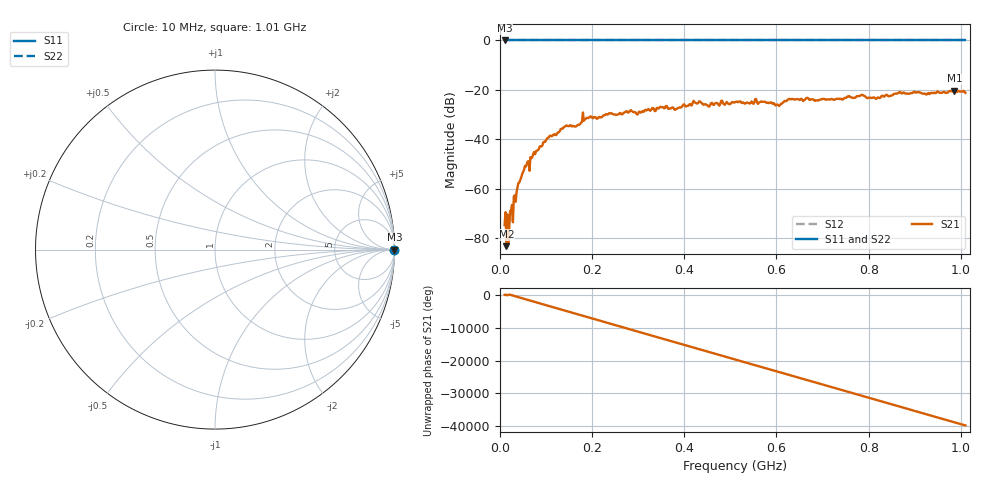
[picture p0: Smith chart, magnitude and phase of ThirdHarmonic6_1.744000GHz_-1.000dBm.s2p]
! 8/16/2025 9:01:54 PM
! C:\ANRITSUVNA\TEMP\TEMP.S2P
! CHANNEL.1
! TR.MEASUREMENT
! RAW.DATA
! RF.CORRECTION.OFF
! AVERAGING.OFF
! IF.BANDWIDTH: 5KHZ
! SWEEPTYPE:  FREQ.SWEEP(Linear)
! Reference Plane Port Info
! PORT:  PORT1  PORT2
! DISTANCE:  0  m  0  m
! TIME:  0  s  0  s
! PHASE.OFFSET:  0  deg.  0  deg.
! LOSS:  0  dB  0  dB
! REF.LOSS:  0  dB  0  dB
! REF.FREQ:  0  Hz  0  Hz
! Power Info
! POWER:  -20  dBm  -20  dBm
! EFF.POWER:  -20  dBm  -20  dBm
! SOURCE.ATTEN:  0  dB  0  dB
! TEST.ATTEN:  0  dB  0  dB
# GHZ S RI R 50.0
! FREQ.GHZ  S11RE  S11IM  S21RE  S21IM  S12RE  S12IM  S22RE  S22IM
!; PortSelection: Port_12
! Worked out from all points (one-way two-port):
!   501 points, 10 MHz to 1.01 GHz, reference 50 ohm
!   highest |S21| = -20.31 dB at 986 MHz (marker M1); lowest = -83.2 dB at 14 MHz (marker M2)
!   lowest |S11| = 0.0 dB at 10 MHz (marker M3)
!   |S11| at or under -10 dB: nowhere
!   |S22| runs from 0.0 to 0.0 dB; largest |S21 - S12| = 1.1
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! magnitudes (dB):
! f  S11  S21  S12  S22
! 10 MHz  0.0  -74.7  0.0  0.0
! 14 MHz  0.0  -83.2  0.0  0.0
! 18 MHz  0.0  -81.8  0.0  0.0
! 26 MHz  0.0  -66.6  0.0  0.0
! 32 MHz  0.0  -62.6  0.0  0.0
! 34 MHz  0.0  -65.2  0.0  0.0
! 50 MHz  0.0  -53.2  0.0  0.0
! 70 MHz  0.0  -47.2  0.0  0.0
! 106 MHz  0.0  -39.2  0.0  0.0
! 142 MHz  0.0  -34.7  0.0  0.0
! 168 MHz  0.0  -34.2  0.0  0.0
! 178 MHz  0.0  -33.0  0.0  0.0
! 344 MHz  0.0  -27.6  0.0  0.0
! 382 MHz  0.0  -27.8  0.0  0.0
! 422 MHz  0.0  -24.9  0.0  0.0
! 510 MHz  0.0  -25.0  0.0  0.0
! 602 MHz  0.0  -25.9  0.0  0.0
! 630 MHz  0.0  -23.8  0.0  0.0
! 678 MHz  0.0  -23.8  0.0  0.0
! 844 MHz  0.0  -22.6  0.0  0.0
! 986 MHz  0.0  -20.3  0.0  0.0
! 1.01 GHz  0.0  -21.2  0.0  0.0
